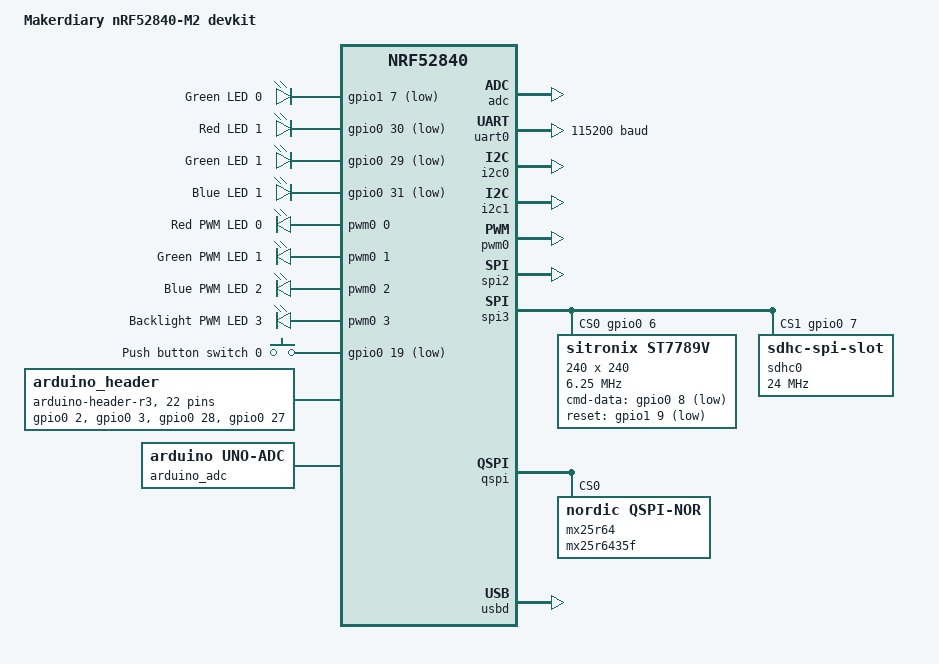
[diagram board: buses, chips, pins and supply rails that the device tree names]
/*
 * Copyright (c) 2024 Stavros Avramidis <stavros9899@gmail.com>
 * Copyright (c) 2022 Nordic Semiconductor
 * Copyright (c) 2020 makerdiary
 * Copyright (c) 2017 Linaro Limited
 *
 * SPDX-License-Identifier: Apache-2.0
 */

/dts-v1/;
#include <nordic/nrf52840_qiaa.dtsi>
#include "nrf52840_m2-pinctrl.dtsi"
#include <zephyr/dt-bindings/input/input-event-codes.h>


/ {
	model = "Makerdiary nRF52840-M2 devkit";
	compatible = "nordic,nrf52840-dk-nrf52840";

	chosen {
		zephyr,console = &uart0;
		zephyr,shell-uart = &uart0;
		zephyr,uart-mcumgr = &uart0;
		zephyr,bt-mon-uart = &uart0;
		zephyr,bt-c2h-uart = &uart0;
		zephyr,sram = &sram0;
		zephyr,flash = &flash0;
		zephyr,code-partition = &slot0_partition;
	};

	leds {
		compatible = "gpio-leds";
		led0_green: led_0 {
			gpios = <&gpio1 7 GPIO_ACTIVE_LOW>;
			label = "Green LED 0";
		};
		led1_red: led_1 {
			gpios = <&gpio0 30 GPIO_ACTIVE_LOW>;
			label = "Red LED 1";
		};
		led1_green: led_2 {
			gpios = <&gpio0 29 GPIO_ACTIVE_LOW>;
			label = "Green LED 1";
		};
		led1_blue: led_3 {
			gpios = <&gpio0 31 GPIO_ACTIVE_LOW>;
			label = "Blue LED 1";
		};
	};

	pwmleds {
		compatible = "pwm-leds";
		red_pwm_led: pwm_led_0 {
			pwms = <&pwm0 0 PWM_MSEC(20) PWM_POLARITY_INVERTED>;
			label = "Red PWM LED 0";
		};
		green_pwm_led: pwm_led_1 {
			pwms = <&pwm0 1  PWM_MSEC(20) PWM_POLARITY_INVERTED>;
			label = "Green PWM LED 1";
		};
		blue_pwm_led: pwm_led_2 {
			pwms = <&pwm0 2  PWM_MSEC(20) PWM_POLARITY_INVERTED>;
			label = "Blue PWM LED 2";
		};
		backlight_pwm_led: pwm_led_3 {
			pwms = <&pwm0 3  PWM_MSEC(20) PWM_POLARITY_INVERTED>;
			label = "Backlight PWM LED 3";
		};
	};

	buttons {
		compatible = "gpio-keys";
		button0: button_0 {
			gpios = <&gpio0 19 (GPIO_PULL_UP | GPIO_ACTIVE_LOW)>;
			label = "Push button switch 0";
			zephyr,code = <INPUT_KEY_0>;

		};
	};

	arduino_header: connector {
		compatible = "arduino-header-r3";
		#gpio-cells = <2>;
		gpio-map-mask = <0xffffffff 0xffffffc0>;
		gpio-map-pass-thru = <0 0x3f>;
		gpio-map = <0 0 &gpio0 2 0>, /* A0 */
		           <1 0 &gpio0 3 0>, /* A1 */
		           <2 0 &gpio0 28 0>, /* A2 */
		           <3 0 &gpio0 27 0>, /* A3 */
		           <4 0 &gpio0 26 0>, /* A4 */
		           <5 0 &gpio0 4 0>, /* A5 */
		           <6 0 &gpio0 15 0>, /* D0 */
		           <7 0 &gpio0 16 0>, /* D1 */
		           <8 0 &gpio0 19 0>, /* D2 */
		           <9 0 &gpio0 20 0>, /* D3 */
		           <10 0 &gpio0 21 0>, /* D4 */
		           <11 0 &gpio0 22 0>, /* D5 */
		           <12 0 &gpio0 23 0>, /* D6 */
		           <13 0 &gpio0 24 0>, /* D7 */
		           <14 0 &gpio1 0 0>, /* D8 */
		           <15 0 &gpio1 1 0>, /* D9 */
		           <16 0 &gpio1 2 0>, /* D10 */
		           <17 0 &gpio1 3 0>, /* D11 */
		           <18 0 &gpio1 4 0>, /* D12 */
		           <19 0 &gpio1 7 0>, /* D13 */
		           <20 0 &gpio1 5 0>, /* D14 */
		           <21 0 &gpio1 6 0>; /* D15 */
	};

	arduino_adc: analog-connector {
		compatible = "arduino,uno-adc";
		#io-channel-cells = <1>;
		io-channel-map = <0 &adc 0>, /* A0 = P0.02 = AIN0 */
		                 <1 &adc 1>, /* A1 = P0.03 = AIN1 */
		                 <2 &adc 4>, /* A2 = P0.28 = AIN4 */
		                 <5 &adc 2>; /* A5 = P0.04 = AIN2 */
	};

	/* These aliases are provided for compatibility with samples */
	aliases {
		sw0 = &button0;
		led0 = &led0_green;
		led1 = &led1_red;
		led2 = &led1_green;
		led3 = &led1_blue;
		led0-green = &led0_green;
		led1-red   = &led1_red;
		led1-green = &led1_green;
		led1-blue  = &led1_blue;
		pwm-led0 = &red_pwm_led;
		pwm-led1 = &green_pwm_led;
		pwm-led2 = &blue_pwm_led;
		pwm-led3 = &backlight_pwm_led;
		red-pwm-led = &red_pwm_led;
		green-pwm-led = &green_pwm_led;
		blue-pwm-led = &blue_pwm_led;
		backlight-pwm-led = &backlight_pwm_led;
		bootloader-led0 = &led0_green;
		mcuboot-button0 = &button0;
		mcuboot-led0 = &led0_green;
		watchdog0 = &wdt0;
		spi-flash0 = &mx25r64;
	};
};

&adc {
	status = "okay";
};

&gpiote {
	status = "okay";
};

&gpio0 {
	status = "okay";
};

&gpio1 {
	status = "okay";
};

&uart0 {
	compatible = "nordic,nrf-uarte";
	current-speed = <115200>;
	status = "okay";
	pinctrl-0 = <&uart0_default>;
	pinctrl-1 = <&uart0_sleep>;
	pinctrl-names = "default", "sleep";
};

arduino_i2c: &i2c0 {
	compatible = "nordic,nrf-twi";
	status = "okay";
	pinctrl-0 = <&i2c0_default>;
	pinctrl-1 = <&i2c0_sleep>;
	pinctrl-names = "default", "sleep";
};

&i2c1 {
	compatible = "nordic,nrf-twi";
	status = "okay";
	pinctrl-0 = <&i2c1_default>;
	pinctrl-1 = <&i2c1_sleep>;
	pinctrl-names = "default", "sleep";
};

&pwm0 {
	status = "okay";
	pinctrl-0 = <&pwm0_default>;
	pinctrl-1 = <&pwm0_sleep>;
	pinctrl-names = "default", "sleep";
};

arduino_spi: &spi2 {
	compatible = "nordic,nrf-spi";
	status = "okay";
	pinctrl-0 = <&spi2_default>;
	pinctrl-1 = <&spi2_sleep>;
	pinctrl-names = "default", "sleep";
	cs-gpios = <&arduino_header 16 0>; /* D10 */
};

&spi3 {
	compatible = "nordic,nrf-spim";
	status = "okay";
	pinctrl-0 = <&spi3_default>;
	pinctrl-1 = <&spi3_sleep>;
	pinctrl-names = "default", "sleep";
	cs-gpios = <&gpio0 6 0>,<&gpio0 7 0>;

	st7789v@0 {
		compatible = "sitronix,st7789v";
		spi-max-frequency = <6250000>;
		reg = <0>;
		cmd-data-gpios = <&gpio0 8 GPIO_ACTIVE_LOW>;
		reset-gpios = <&gpio1 9 GPIO_ACTIVE_LOW>;
		width = <240>;
		height = <240>;
		x-offset = <80>;
		y-offset = <0>;
		vcom = <0x19>;
		gctrl = <0x35>;
		vrhs = <0x12>;
		vdvs = <0x20>;
		mdac = <0xa0>;
		gamma = <0x01>;
		colmod = <0x05>;
		lcm = <0x2c>;
		porch-param = [ 0c 0c 00 33 33  ];
		cmd2en-param = [ 5a 69 02 01  ];
		pwctrl1-param = [ a4 a1  ];
		pvgam-param = [ D0 04 0D 11 13 2B 3F 54 4C 18 0D 0B 1F 23  ];
		nvgam-param = [ D0 04 0C 11 13 2C 3F 44 51 2F 1F 1F 20 23  ];
		ram-param = [ 00 F0  ];
		rgb-param = [ CD 08 14  ];
	};

	sdhc0: sdhc@1 {
		compatible = "zephyr,sdhc-spi-slot";
		reg = <1>;
		status = "okay";
		spi-max-frequency = <24000000>;
		mmc {
			compatible = "zephyr,sdmmc-disk";
			status = "okay";
		};
	};
};

&qspi {
	status = "okay";
	pinctrl-0 = <&qspi_default>;
	pinctrl-1 = <&qspi_sleep>;
	pinctrl-names = "default", "sleep";
	mx25r64: mx25r6435f@0 {
		compatible = "nordic,qspi-nor";
		reg = <0>;
		writeoc = "pp4io";
		readoc = "read4io";
		sck-frequency = <8000000>;
		jedec-id = [ c2 28 17  ];
		sfdp-bfp = [ 
			e5 20 f1 ff  ff ff ff 03  44 eb 08 6b  08 3b 04 bb
			ee ff ff ff  ff ff 00 ff  ff ff 00 ff  0c 20 0f 52
			10 d8 00 ff  23 72 f5 00  82 ed 04 cc  44 83 68 44
			30 b0 30 b0  f7 c4 d5 5c  00 be 29 ff  f0 d0 ff ff		
		];
		size = <67108864>;
		has-dpd;
		t-enter-dpd = <10000>;
		t-exit-dpd = <35000>;
	};
};

&flash0 {

	partitions {
		compatible = "fixed-partitions";
		#address-cells = <1>;
		#size-cells = <1>;

		boot_partition: partition@0 {
			label = "mcuboot";
			reg = <0x00000000 0x0000C000>;
		};
		slot0_partition: partition@c000 {
			label = "image-0";
			reg = <0x0000C000 0x00067000>;
		};
		slot1_partition: partition@73000 {
			label = "image-1";
			reg = <0x00073000 0x00067000>;
		};
		scratch_partition: partition@da000 {
			label = "image-scratch";
			reg = <0x000da000 0x0001e000>;
		};

		/*
		 * The flash starting at 0x000f8000 and ending at
		 * 0x000fffff is reserved for use by the application.
		 */

		/*
		 * Storage partition will be used by FCB/LittleFS/NVS
		 * if enabled.
		 */
		storage_partition: partition@f8000 {
			label = "storage";
			reg = <0x000f8000 0x00008000>;
		};
	};
};

&usbd {
	compatible = "nordic,nrf-usbd";
	status = "okay";
};
